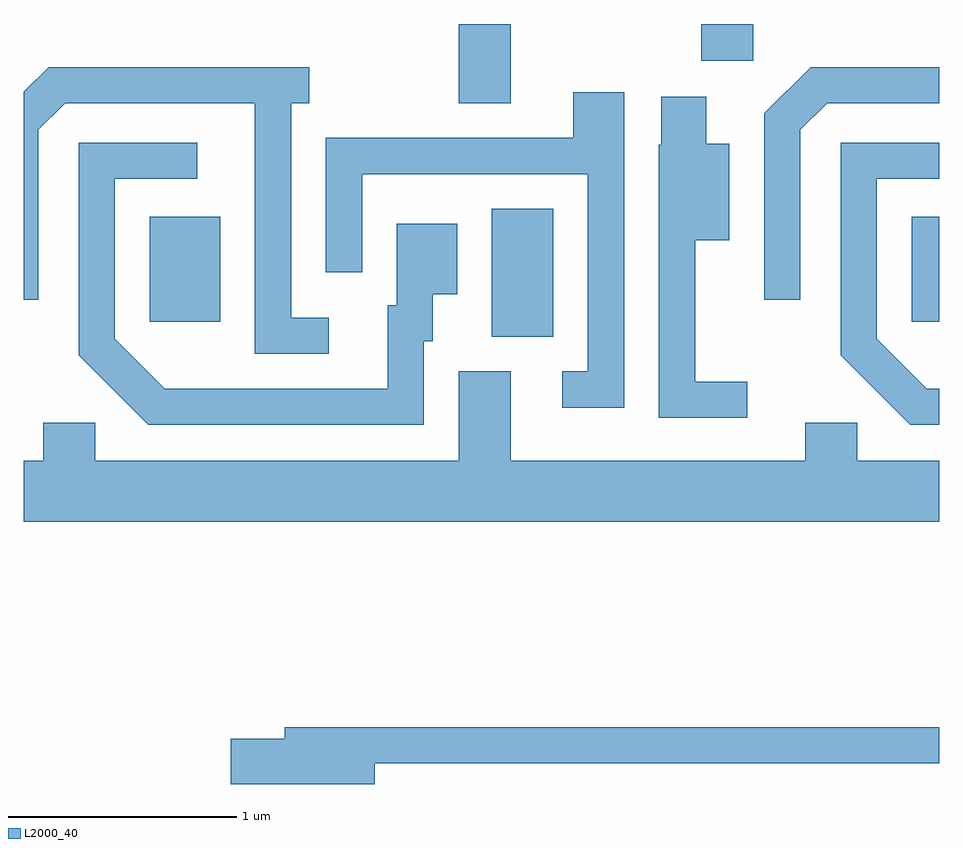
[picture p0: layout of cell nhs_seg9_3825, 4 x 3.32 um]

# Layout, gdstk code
import gdstk
lib = gdstk.Library(unit=1e-6, precision=1e-09)
def R(c, l, rs):  # rectangles x0, y0, x1, y1
    for r in rs: c.add(gdstk.rectangle(r[:2], r[2:], *l))
def P(c, l, *ps):  # polygons
    for p in ps: c.add(gdstk.Polygon(p, *l))
L2000_40 = (2000, 40)

nhs_seg9_3825 = lib.new_cell('nhs_seg9_3825')
R(nhs_seg9_3825, L2000_40, [(299.656,1997.066,299.924,1997.624), (298.161,1997.131,298.469,1997.589), (301.491,1997.131,301.611,1997.589), (299.511,1998.086,299.739,1998.432), (300.571,1998.271,300.799,1998.432)])
P(nhs_seg9_3825, L2000_40, [(298.943,1997.149),(298.779,1997.149),(298.779,1998.086),(298.858,1998.086),(298.858,1998.244),(297.719,1998.244),(297.611,1998.137),(297.611,1997.228),(297.674,1997.228),(297.674,1997.969),(297.792,1998.086),(298.621,1998.086),(298.621,1996.991),(298.943,1996.991)],
  [(301.004,1997.969),(301.122,1998.086),(301.611,1998.086),(301.611,1998.244),(301.049,1998.244),(300.846,1998.042),(300.846,1997.228),(301.004,1997.228)],
  [(300.234,1998.134),(300.011,1998.134),(300.011,1997.934),(298.931,1997.934),(298.931,1997.348),(299.089,1997.348),(299.089,1997.776),(300.076,1997.776),(300.076,1996.914),(299.963,1996.914),(299.963,1996.756),(300.234,1996.756)],
  [(300.773,1996.869),(300.544,1996.869),(300.544,1997.486),(300.694,1997.486),(300.694,1997.909),(300.594,1997.909),(300.594,1998.114),(300.396,1998.114),(300.396,1997.905),(300.386,1997.905),(300.386,1996.711),(300.773,1996.711)],
  [(299.359,1997.046),(299.399,1997.046),(299.399,1997.251),(299.504,1997.251),(299.504,1997.559),(299.241,1997.559),(299.241,1997.204),(299.201,1997.204),(299.201,1996.839),(298.227,1996.839),(298.009,1997.057),(298.009,1997.756),(298.368,1997.756),(298.368,1997.914),(297.851,1997.914),(297.851,1996.984),(298.154,1996.681),(299.359,1996.681)],
  [(301.611,1996.839),(301.557,1996.839),(301.339,1997.057),(301.339,1997.756),(301.611,1997.756),(301.611,1997.914),(301.181,1997.914),(301.181,1996.984),(301.484,1996.681),(301.611,1996.681)],
  [(299.511,1996.914),(299.511,1996.524),(297.924,1996.524),(297.924,1996.689),(297.696,1996.689),(297.696,1996.524),(297.611,1996.524),(297.611,1996.256),(301.611,1996.256),(301.611,1996.524),(301.254,1996.524),(301.254,1996.689),(301.026,1996.689),(301.026,1996.524),(299.739,1996.524),(299.739,1996.914)],
  [(299.144,1995.201),(301.611,1995.201),(301.611,1995.359),(298.751,1995.359),(298.751,1995.309),(298.516,1995.309),(298.516,1995.111),(299.144,1995.111)])

lib.write_gds('nhs_seg9_3825.gds')
